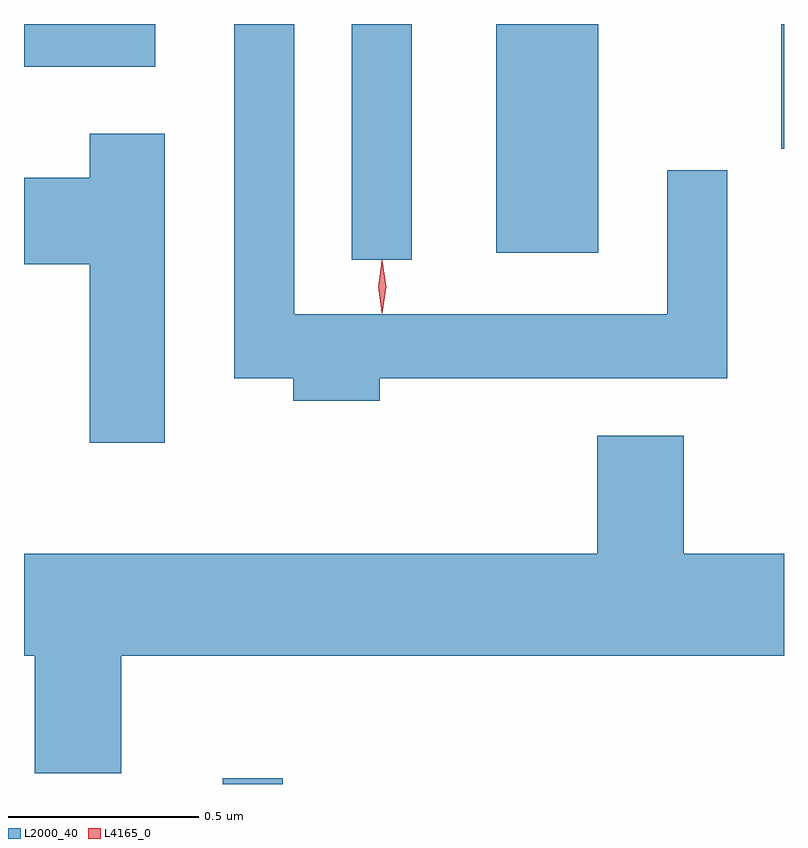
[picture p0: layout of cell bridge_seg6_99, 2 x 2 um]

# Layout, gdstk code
import gdstk
lib = gdstk.Library(unit=1e-6, precision=1e-09)
def R(c, l, rs):  # rectangles x0, y0, x1, y1
    for r in rs: c.add(gdstk.rectangle(r[:2], r[2:], *l))
def P(c, l, *ps):  # polygons
    for p in ps: c.add(gdstk.Polygon(p, *l))
L2000_40 = (2000, 40)
L4165_0 = (4165, 0)

bridge_seg6_99 = lib.new_cell('bridge_seg6_99')
R(bridge_seg6_99, L2000_40, [(1056.286,1618.518,1056.444,1618.533), (1056.626,1619.898,1056.784,1620.518), (1057.006,1619.916,1057.274,1620.518), (1057.756,1620.19,1057.763,1620.518), (1055.763,1620.406,1056.109,1620.518)])
P(bridge_seg6_99, L2000_40, [(1056.699,1619.586),(1057.614,1619.586),(1057.614,1620.133),(1057.456,1620.133),(1057.456,1619.754),(1056.474,1619.754),(1056.474,1620.518),(1056.316,1620.518),(1056.316,1619.586),(1056.471,1619.586),(1056.471,1619.526),(1056.699,1619.526)],
  [(1056.134,1620.229),(1055.936,1620.229),(1055.936,1620.114),(1055.763,1620.114),(1055.763,1619.886),(1055.936,1619.886),(1055.936,1619.416),(1056.134,1619.416)],
  [(1055.763,1618.856),(1055.791,1618.856),(1055.791,1618.546),(1056.019,1618.546),(1056.019,1618.856),(1057.763,1618.856),(1057.763,1619.124),(1057.499,1619.124),(1057.499,1619.434),(1057.271,1619.434),(1057.271,1619.124),(1055.763,1619.124)])
P(bridge_seg6_99, L4165_0, [(1056.705,1619.757),(1056.696,1619.827),(1056.705,1619.896),(1056.706,1619.896),(1056.706,1619.896),(1056.716,1619.827),(1056.706,1619.757),(1056.706,1619.757)],
  [(1056.705,1619.76),(1056.705,1619.76),(1056.695,1619.826),(1056.705,1619.892),(1056.705,1619.893),(1056.706,1619.892),(1056.715,1619.826),(1056.706,1619.76)])

lib.write_gds('bridge_seg6_99.gds')
